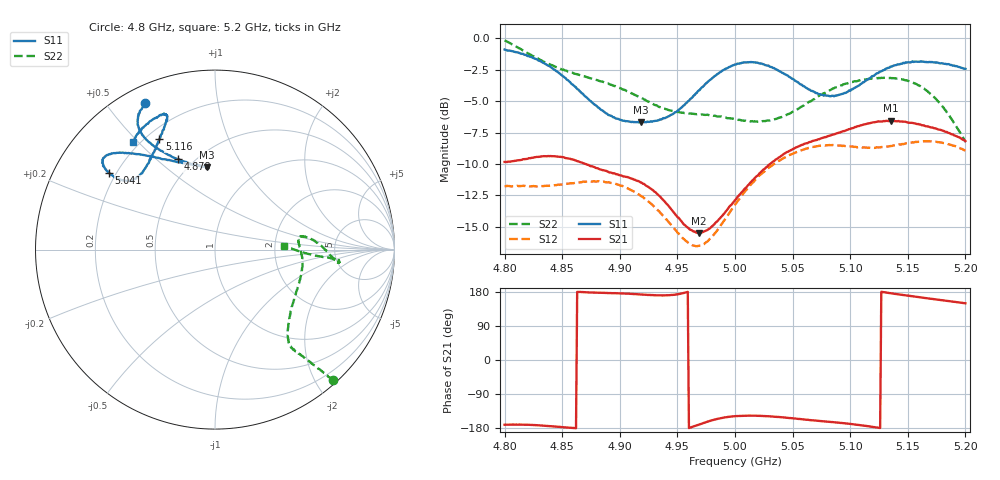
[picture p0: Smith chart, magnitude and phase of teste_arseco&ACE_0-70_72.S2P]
! Network Analyzer HP8722D
! Hewlett-Packard
! Data name: Linha & Wilkinson
! Saver's name: Rodrigo Anjos
! Comments: Teste da utilização de aquisição
! continua pelo VNA HP8722D
! Time and date: 8/5/2025 13:21
!  Frequency  S11  S21  S12  S22
# HZ  S  MA R 50
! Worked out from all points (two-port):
!   401 points, 4.8 GHz to 5.2 GHz, reference 50 ohm
!   highest |S21| = -6.56 dB at 5.135 GHz (marker M1); lowest = -15.5 dB at 4.969 GHz (marker M2)
!   |S21| within 3 dB of the highest: 4.821 GHz to 4.855 GHz (34.39 MHz wide, 0.711 % of centre); 5.037 GHz to end of sweep
!   lowest |S11| = -6.7 dB at 4.918 GHz (marker M3), VSWR 2.72, Z = 30 + j35.2 ohm
!   |S11| at or under -10 dB: nowhere
!   |S22| runs from -8.2 to -0.2 dB; largest |S21 - S12| = 0.83
!   S11 on the Smith chart (normalised r, x): 4.8 GHz: 0.07, +0.63; 4.878 GHz: 0.41, +0.59; 5.041 GHz: 0.17, +0.32; 5.116 GHz: 0.25, +0.59; 5.2 GHz: 0.17, +0.48
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4.8e9  0.9028 115.6  0.3222 -170.9  0.2582 -86.3  0.9809 -47.8
4.818e9  0.8588 119.7  0.3307 -170.7  0.2584 -82.2  0.8832 -48.9
4.836e9  0.7871 122.2  0.3396 -173.6  0.2587 -76.5  0.8 -50.1
4.867e9  0.6042 117.3  0.3206 179.1  0.2676 -67.9  0.7104 -51.8
4.878e9  0.5454 112.4  0.3074 177.7  0.2699 -66.5  0.6875 -52.1
4.9e9  0.4747 100.6  0.2854 175.9  0.26 -67.3  0.6342 -50.2
4.918e9  0.4627 95.8  0.2671 172.9  0.2364 -69.4  0.5809 -45.0
4.934e9  0.4726 99.5  0.2367 170.6  0.2054 -69.9  0.5334 -36.9
4.957e9  0.5496 115.8  0.1798 178.0  0.1567 -60.0  0.5044 -21.7
4.969e9  0.621 123.8  0.1681 -170.0  0.1495 -46.7  0.4991 -14.8
4.981e9  0.7002 130.2  0.18 -158.4  0.1642 -33.1  0.4919 -8.5
5e9  0.7872 137.2  0.227 -148.4  0.2177 -21.7  0.4766 -0.2
5.018e9  0.8002 141.4  0.2805 -147.0  0.2747 -18.8  0.4668 5.8
5.041e9  0.7293 144.1  0.3425 -151.3  0.3315 -19.2  0.4875 8.7
5.067e9  0.6174 141.7  0.39 -159.0  0.3697 -21.4  0.5671 4.1
5.088e9  0.5917 132.4  0.4183 -164.8  0.3751 -24.6  0.639 -2.4
5.116e9  0.6902 116.7  0.4589 -175.2  0.3674 -27.6  0.6886 -6.0
5.134e9  0.7638 110.6  0.4682 176.8  0.3722 -29.5  0.695 -5.4
5.135e9  0.772 110.6  0.47 176.4  0.3727 -29.6  0.6957 -5.4
5.162e9  0.809 112.6  0.4514 164.8  0.3887 -36.3  0.6405 -4.2
5.179e9  0.7958 118.4  0.4315 158.1  0.3848 -41.7  0.5424 -3.1
5.2e9  0.7558 127.3  0.39 149.7  0.3574 -47.5  0.387 3.3
